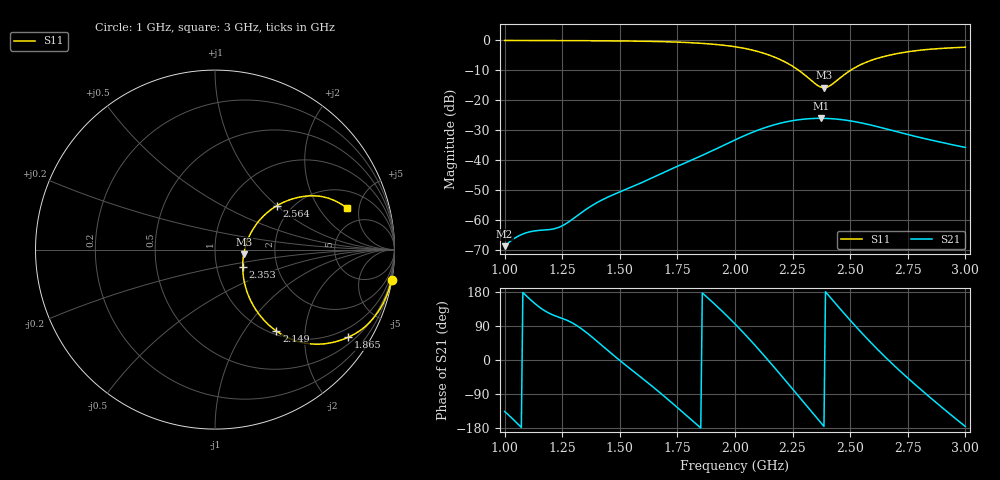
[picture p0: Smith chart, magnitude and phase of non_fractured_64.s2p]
! TOUCHSTONE file generated by CST MICROWAVE STUDIO
! Date and time: Sat Mar  8 13:54:25 2025
! Project name: non_fractured.cst
! Parameters = {B=2.5; D=160; F=20; Feed=2.85625; L=100; M=5; R=0.384908; S=2.5; Theta=270; length=57.125; wave=114.25}
! Header version: 2024
! Port assignment regex: !\s*Touchstone port\s*([0-9]+)\s*=\s*(CST MWS port|CST DES external port|CST DES block port)\s*(.+)\s* \(\"(.*)\"\)(\s*mode\s*([0-9]+))?.*
! Touchstone port assignment:
! Touchstone port 1 = CST MWS port 1 ("")
! Touchstone port 2 = CST MWS port 2 ("")
# GHz S DB R 50
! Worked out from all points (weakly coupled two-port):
!   304 points, 1 GHz to 3 GHz, reference 50 ohm
!   highest |S21| = -26.08 dB at 2.373 GHz (marker M1); lowest = -68.9 dB at 1 GHz (marker M2)
!   lowest |S11| = -15.8 dB at 2.386 GHz (marker M3), VSWR 1.39, Z = 68.9 - j3.75 ohm
!   |S11| at or under -10 dB: 2.276 GHz to 2.502 GHz (225.4 MHz wide, 9.43 % of centre)
!   S12 and S22 are empty: the file has one direction only
!   S11 on the Smith chart (normalised r, x): 1 GHz: 0, -12; 1.865 GHz: 0.69, -3.19; 2.149 GHz: 1.06, -1.42; 2.353 GHz: 1.33, -0.27; 2.564 GHz: 1.68, +1.00; 3 GHz: 3.25, +3.73
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1  -0.02 -9.7  -68.86 -135.9  -200.00 0.0  -200.00 0.0
1.0396  -0.02 -10.3  -66.39 -158.1  -200.00 0.0  -200.00 0.0
1.08581  -0.03 -10.9  -64.59 174.3  -200.00 0.0  -200.00 0.0
1.24422  -0.06 -13.4  -62.26 111.0  -200.00 0.0  -200.00 0.0
1.33663  -0.09 -15.2  -57.46 81.1  -200.00 0.0  -200.00 0.0
1.43564  -0.13 -17.3  -52.90 31.6  -200.00 0.0  -200.00 0.0
1.66667  -0.38 -24.2  -45.05 -82.4  -200.00 0.0  -200.00 0.0
1.86469  -1.04 -33.4  -38.22 173.3  -200.00 0.0  -200.00 0.0
2.0033  -2.16 -42.5  -33.19 93.2  -200.00 0.0  -200.00 0.0
2.07591  -3.25 -48.0  -30.75 46.1  -200.00 0.0  -200.00 0.0
2.14851  -4.91 -53.0  -28.74 -3.9  -200.00 0.0  -200.00 0.0
2.24752  -8.53 -55.6  -26.89 -74.8  -200.00 0.0  -200.00 0.0
2.33993  -14.01 -38.8  -26.13 -142.0  -200.00 0.0  -200.00 0.0
2.35314  -14.80 -32.1  -26.09 -151.5  -200.00 0.0  -200.00 0.0
2.37294  -15.63 -19.2  -26.08 -165.8  -200.00 0.0  -200.00 0.0
2.38614  -15.81 -9.4  -26.09 -175.3  -200.00 0.0  -200.00 0.0
2.41254  -15.15 9.1  -26.17 165.8  -200.00 0.0  -200.00 0.0
2.47855  -11.22 31.9  -26.67 119.5  -200.00 0.0  -200.00 0.0
2.56436  -7.47 35.3  -27.88 62.1  -200.00 0.0  -200.00 0.0
2.66997  -4.96 31.4  -29.91 -2.7  -200.00 0.0  -200.00 0.0
2.82838  -3.08 23.8  -32.95 -89.3  -200.00 0.0  -200.00 0.0
3  -2.27 17.6  -35.82 -175.5  -200.00 0.0  -200.00 0.0
